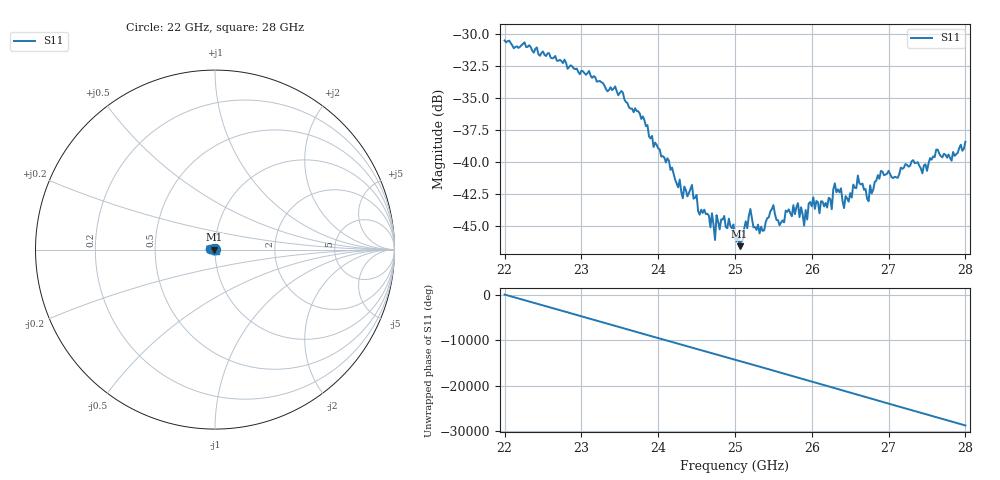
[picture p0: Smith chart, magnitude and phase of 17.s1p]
#  HZ  S  RI  R  50.00
! Rohde & Schwarz ZVA40 4Ports - Version 3.90 - 1145.1110k42 SN: 100403
! Date: 2023-10-04 08:34:59
! Measurement: S12
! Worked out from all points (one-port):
!   301 points, 22 GHz to 28 GHz, reference 50 ohm
!   lowest |S11| = -46.6 dB at 25.06 GHz (marker M1), VSWR 1.01, Z = 49.5 - j0.11 ohm
!   |S11| at or under -10 dB: start of sweep to end of sweep
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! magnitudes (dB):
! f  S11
! 22 GHz  -30.5
! 22.76 GHz  -32.3
! 23.5 GHz  -34.6
! 24.26 GHz  -42.0
! 24.44 GHz  -41.8
! 24.68 GHz  -45.1
! 24.7 GHz  -44.0
! 24.74 GHz  -46.1
! 24.76 GHz  -44.2
! 25 GHz  -46.0
! 25.06 GHz  -46.6
! 25.2 GHz  -43.7
! 25.32 GHz  -45.6
! 25.5 GHz  -43.4
! 25.58 GHz  -45.0
! 25.76 GHz  -43.4
! 25.9 GHz  -45.0
! 26.02 GHz  -42.8
! 26.1 GHz  -44.0
! 26.26 GHz  -43.7
! 26.3 GHz  -41.7
! 26.42 GHz  -43.6
! 26.5 GHz  -42.4
! 26.6 GHz  -41.1
! 26.74 GHz  -43.1
! 26.9 GHz  -40.7
! 27.26 GHz  -40.4
! 28 GHz  -38.4
